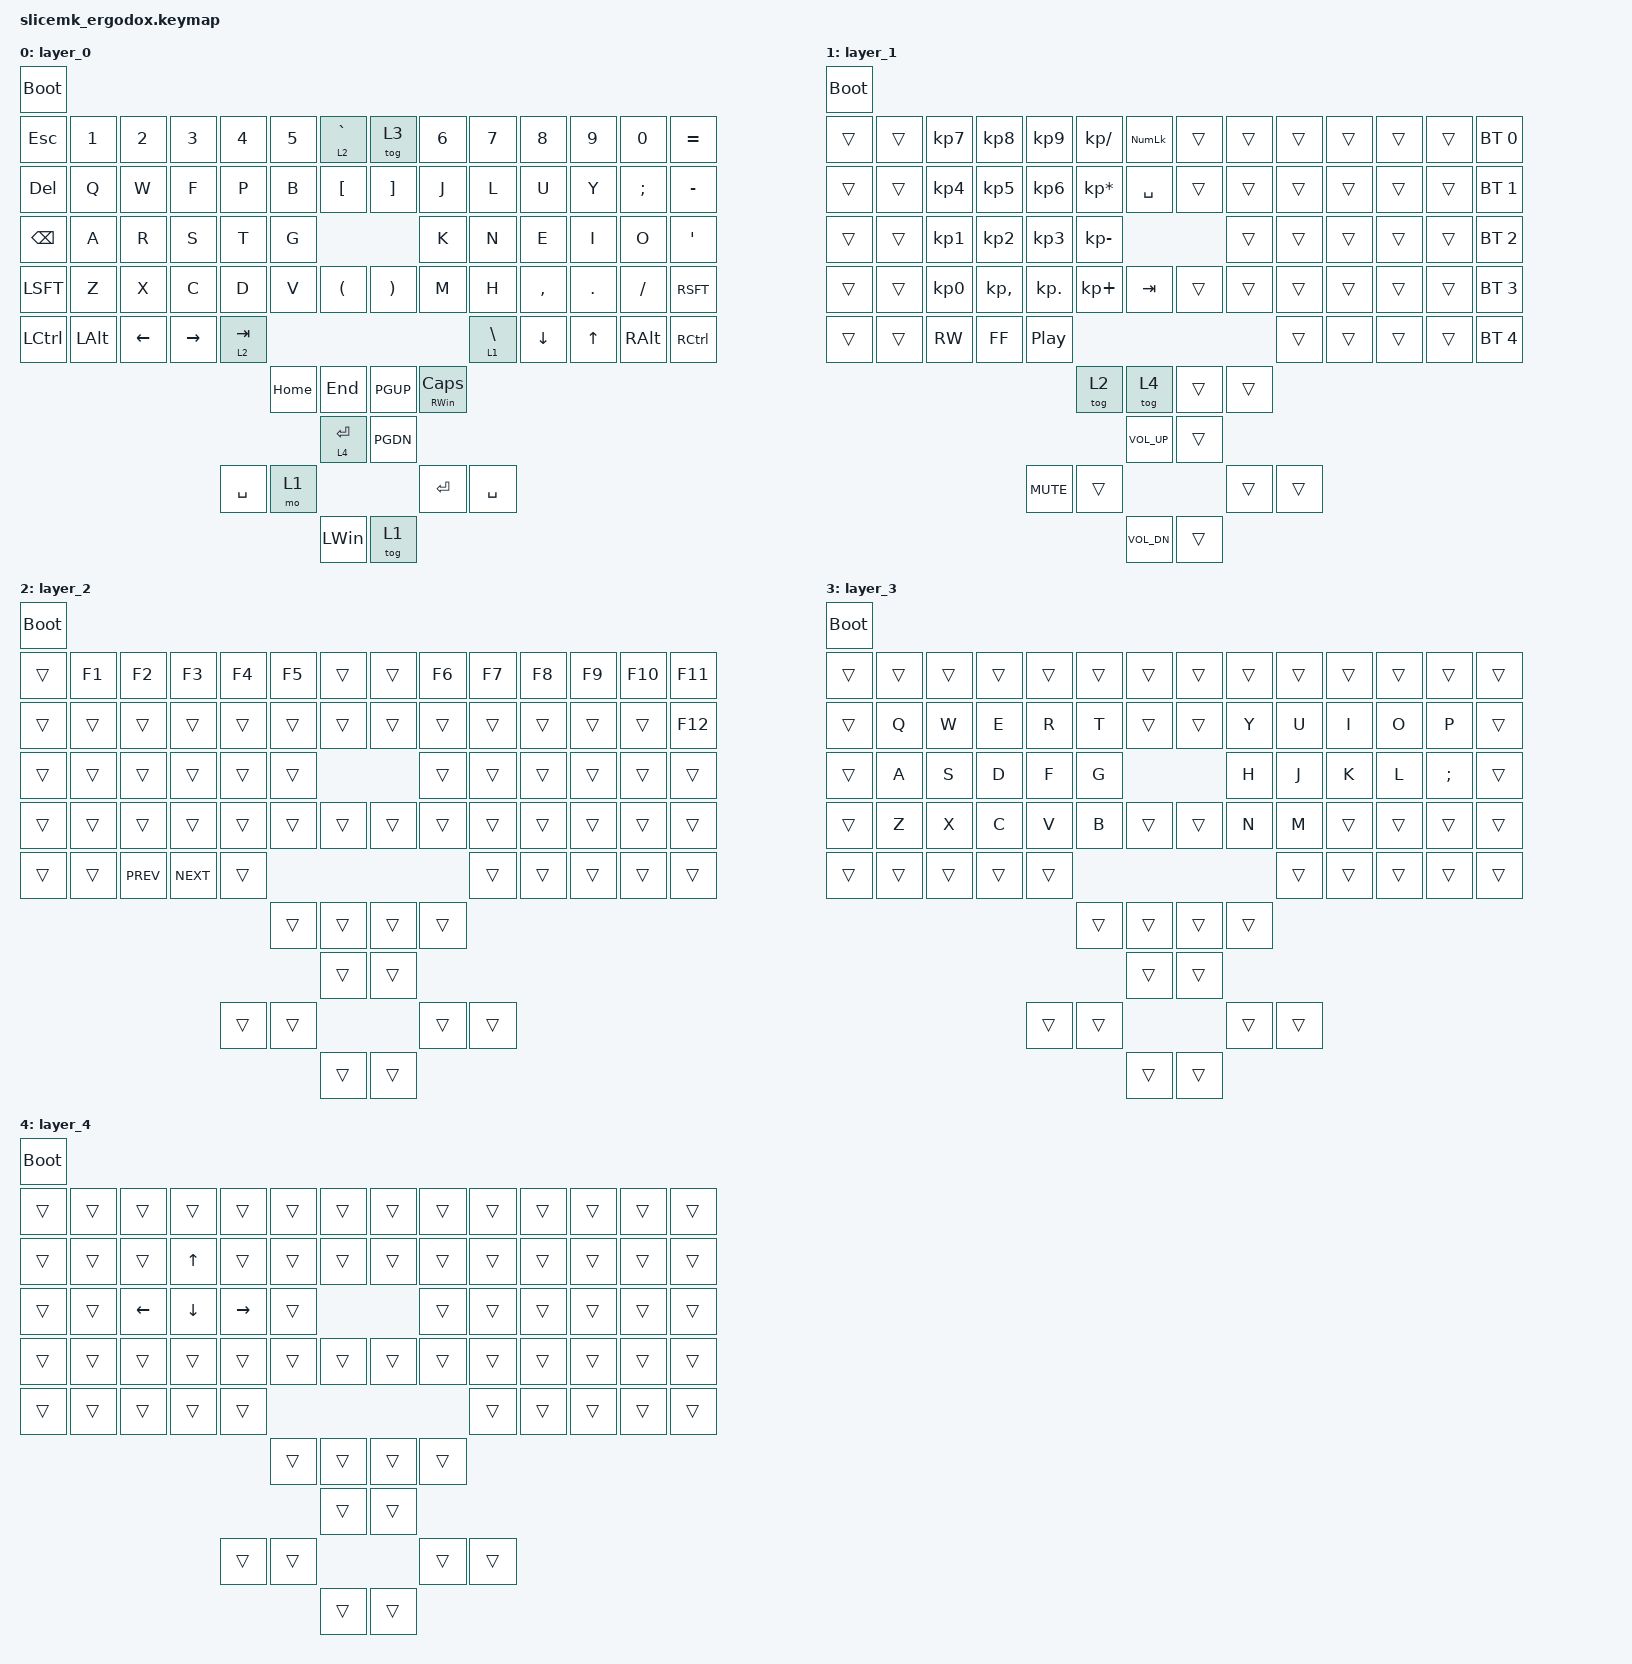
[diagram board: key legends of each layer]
#include <behaviors.dtsi>
#include <dt-bindings/zmk/bt.h>
#include <dt-bindings/zmk/keys.h>
#include <dt-bindings/zmk/outputs.h>
#define KP_CMA KP_COMMA
#define RW RWIN
#define CPS CAPS
#define GRV GRAVE
#define KP_SLH KP_SLASH
#define KP_AST KP_ASTERISK
#define KP_MIN KP_MINUS
#define KP_PLS KP_PLUS
#define CVDN C_VOL_DN
#define CVUP C_VOL_UP

/ {
        keymap {
                compatible = "zmk,keymap";

                layer_0 {
                        bindings = <
    &bootloader
    &kp ESC    &kp N1     &kp N2     &kp N3     &kp N4     &kp N5     &lt 2 GRV  &tog 3     &kp N6     &kp N7     &kp N8     &kp N9     &kp N0     &kp EQUAL
    &kp DEL    &kp Q      &kp W      &kp F      &kp P      &kp B      &kp LBKT   &kp RBKT   &kp J      &kp L      &kp U      &kp Y      &kp SEMI   &kp MINUS
    &kp BKSP   &kp A      &kp R      &kp S      &kp T      &kp G                            &kp K      &kp N      &kp E      &kp I      &kp O      &kp APOS
    &kp LSFT   &kp Z      &kp X      &kp C      &kp D      &kp V      &kp LPAR   &kp RPAR   &kp M      &kp H      &kp COMMA  &kp PERIOD &kp FSLH   &kp RSFT
    &kp LCTRL  &kp LALT   &kp LEFT   &kp RIGHT  &lt 2 TAB                                              &lt 1 BSLH &kp DOWN   &kp UP     &kp RALT   &kp RCTRL
                                                           &kp HOME   &kp END    &kp PGUP   &mt RW CPS
                                                                      &lt 4 RET  &kp PGDN
                                                &kp SPACE  &mo 1                            &kp ENTER  &kp SPACE
                                                                      &kp LWIN   &tog 1
                        >;
                };
                
                layer_1 {
                        bindings = <
    &bootloader
    &trans     &trans     &kp KP_N7  &kp KP_N8  &kp KP_N9  &kp KP_SLH &kp KP_NUM &trans     &trans     &trans     &trans     &trans     &trans     &bt BT_SEL 0
    &trans     &trans     &kp KP_N4  &kp KP_N5  &kp KP_N6  &kp KP_AST &kp SPACE  &trans     &trans     &trans     &trans     &trans     &trans     &bt BT_SEL 1
    &trans     &trans     &kp KP_N1  &kp KP_N2  &kp KP_N3  &kp KP_MIN                       &trans     &trans     &trans     &trans     &trans     &bt BT_SEL 2
    &trans     &trans     &kp KP_N0  &kp KP_CMA &kp KP_DOT &kp KP_PLS &kp TAB    &trans     &trans     &trans     &trans     &trans     &trans     &bt BT_SEL 3
    &trans     &trans     &kp C_RW   &kp C_FF   &kp C_PP                                               &trans     &trans     &trans     &trans     &bt BT_SEL 4
                                                           &tog 2     &tog 4     &trans     &trans
                                                                      &kp CVUP   &trans
                                                &kp C_MUTE &trans                           &trans     &trans
                                                                      &kp CVDN   &trans
                        >;
				};
		
		layer_2 {
                        bindings = <
    &bootloader
    &trans     &kp F1     &kp F2     &kp F3     &kp F4     &kp F5     &trans     &trans     &kp F6     &kp F7     &kp F8     &kp F9     &kp F10    &kp F11
    &trans     &trans     &trans     &trans     &trans     &trans     &trans     &trans     &trans     &trans     &trans     &trans     &trans     &kp F12
    &trans     &trans     &trans     &trans     &trans     &trans                           &trans     &trans     &trans     &trans     &trans     &trans
    &trans     &trans     &trans     &trans     &trans     &trans     &trans     &trans     &trans     &trans     &trans     &trans     &trans     &trans
    &trans     &trans     &kp C_PREV &kp C_NEXT &trans                                                 &trans     &trans     &trans     &trans     &trans
                                                           &trans     &trans     &trans     &trans
                                                                      &trans     &trans
                                                &trans     &trans                           &trans     &trans
                                                                      &trans     &trans
                        >;
				};

                layer_3 {
                        bindings = <
    &bootloader
    &trans     &trans     &trans     &trans     &trans     &trans     &trans     &trans     &trans     &trans     &trans     &trans     &trans     &trans
    &trans     &kp Q      &kp W      &kp E      &kp R      &kp T      &trans     &trans     &kp Y      &kp U      &kp I      &kp O      &kp P      &trans
    &trans     &kp A      &kp S      &kp D      &kp F      &kp G                            &kp H      &kp J      &kp K      &kp L      &kp SEMI   &trans
    &trans     &kp Z      &kp X      &kp C      &kp V      &kp B      &trans     &trans     &kp N      &kp M      &trans     &trans     &trans     &trans
    &trans     &trans     &trans     &trans     &trans                                                 &trans     &trans     &trans     &trans     &trans
                                                           &trans     &trans     &trans     &trans
                                                                      &trans     &trans
                                                &trans     &trans                           &trans     &trans
                                                                      &trans     &trans
                        >;
				};

                layer_4 {
                        bindings = <
    &bootloader
    &trans     &trans     &trans     &trans     &trans     &trans     &trans     &trans     &trans     &trans     &trans     &trans     &trans     &trans
    &trans     &trans     &trans     &kp UP     &trans     &trans     &trans     &trans     &trans     &trans     &trans     &trans     &trans     &trans
    &trans     &trans     &kp LEFT   &kp DOWN   &kp RIGHT  &trans                           &trans     &trans     &trans     &trans     &trans     &trans
    &trans     &trans     &trans     &trans     &trans     &trans     &trans     &trans     &trans     &trans     &trans     &trans     &trans     &trans
    &trans     &trans     &trans     &trans     &trans                                                 &trans     &trans     &trans     &trans     &trans
                                                           &trans     &trans     &trans     &trans
                                                                      &trans     &trans
                                                &trans     &trans                           &trans     &trans
                                                                      &trans     &trans
                        >;
				};
        };
};
